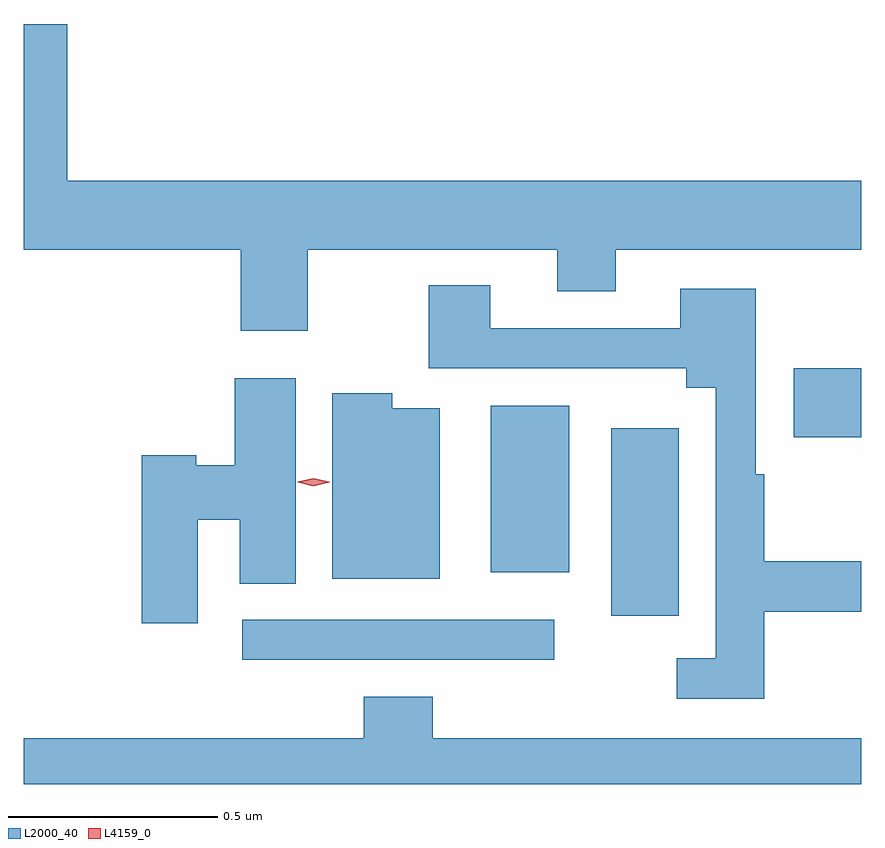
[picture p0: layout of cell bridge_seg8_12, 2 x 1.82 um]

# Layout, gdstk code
import gdstk
lib = gdstk.Library(unit=1e-6, precision=1e-09)
def R(c, l, rs):  # rectangles x0, y0, x1, y1
    for r in rs: c.add(gdstk.rectangle(r[:2], r[2:], *l))
def P(c, l, *ps):  # polygons
    for p in ps: c.add(gdstk.Polygon(p, *l))
L2000_40 = (2000, 40)
L4159_0 = (4159, 0)

bridge_seg8_12 = lib.new_cell('bridge_seg8_12')
R(bridge_seg8_12, L2000_40, [(980.775,1128.84,981.52,1128.936), (981.656,1128.945,981.817,1129.393), (981.368,1129.049,981.556,1129.447), (982.092,1129.372,982.253,1129.537)])
P(bridge_seg8_12, L2000_40, [(980.931,1129.82),(981.527,1129.82),(981.527,1129.721),(981.667,1129.721),(981.667,1129.82),(982.253,1129.82),(982.253,1129.984),(980.356,1129.984),(980.356,1130.359),(980.253,1130.359),(980.253,1129.82),(980.771,1129.82),(980.771,1129.626),(980.931,1129.626)],
  [(982.022,1128.954),(982.253,1128.954),(982.253,1129.075),(982.022,1129.075),(982.022,1129.283),(982.002,1129.283),(982.002,1129.726),(981.821,1129.726),(981.821,1129.632),(981.367,1129.632),(981.367,1129.735),(981.22,1129.735),(981.22,1129.536),(981.836,1129.536),(981.836,1129.49),(981.906,1129.49),(981.906,1128.843),(981.813,1128.843),(981.813,1128.747),(982.022,1128.747)],
  [(980.668,1129.175),(980.768,1129.175),(980.768,1129.021),(980.902,1129.021),(980.902,1129.513),(980.756,1129.513),(980.756,1129.305),(980.664,1129.305),(980.664,1129.328),(980.534,1129.328),(980.534,1128.927),(980.668,1128.927)],
  [(981.247,1129.441),(981.133,1129.441),(981.133,1129.477),(980.99,1129.477),(980.99,1129.034),(981.247,1129.034)],
  [(982.253,1128.652),(981.23,1128.652),(981.23,1128.751),(981.065,1128.751),(981.065,1128.652),(980.253,1128.652),(980.253,1128.543),(982.253,1128.543)])
P(bridge_seg8_12, L4159_0, [(980.944,1129.254),(980.907,1129.264),(980.906,1129.264),(980.907,1129.265),(980.944,1129.274),(980.982,1129.265),(980.983,1129.264),(980.982,1129.264)])

lib.write_gds('bridge_seg8_12.gds')
